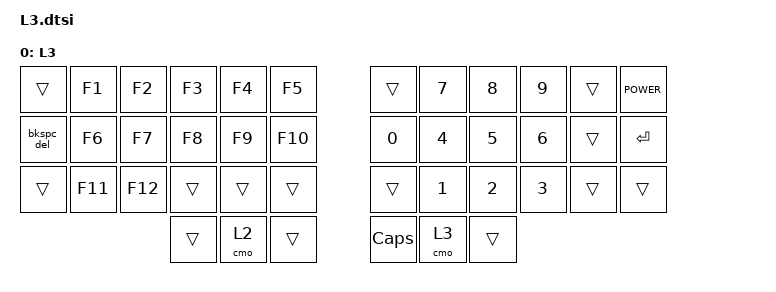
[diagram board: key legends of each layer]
/**
 * Function / System Layer
 */

/ {
  keymap {
    compatible = "zmk,keymap";

    layer_3 {
      label = "L3";
      bindings = <
// ╭───────────────┬───────────────┬───────────────┬───────────────┬───────────────┬───────────────╮   ╭───────────────┬───────────────┬───────────────┬───────────────┬───────────────┬───────────────╮
//  0               1               2               3               4               5                   6               7               8               9               10              11
    &trans          &kp F1          &kp F2          &kp F3          &kp F4          &kp F5              &trans          &kp N7          &kp N8          &kp N9          &trans          &kp C_POWER
// ├───────────────├───────────────┼───────────────┼───────────────┼───────────────┼───────────────┤   ├───────────────├───────────────┼───────────────┼───────────────┼───────────────┼───────────────┤
//  12              13              14              15              16              17                  18              19              20              21              22              23
    &bkspc_del      &kp F6          &kp F7          &kp F8          &kp F9          &kp F10             &kp N0          &kp N4          &kp N5          &kp N6          &trans          &kp ENTER
// ├───────────────├───────────────┼───────────────┼───────────────┼───────────────┼───────────────┤   ├───────────────├───────────────┼───────────────┼───────────────┼───────────────┼───────────────┤
//  24              25              26              27              28              29                  30              31              32              33              34              35
    &trans          &kp F11         &kp F12         &trans          &trans          &trans              &trans          &kp N1          &kp N2          &kp N3          &trans          &trans
// ╰───────────────┴───────────────┴───────────────┼───────────────┼───────────────┼───────────────┤   ├───────────────├───────────────┼───────────────┼───────────────┴───────────────┴───────────────╯
//                                                  36              37              38                  39              40              41
                                                    &trans          &cmo L2         &trans              &kp CAPSLOCK    &cmo L3         &trans
//                                                 ╰───────────────┴───────────────┴───────────────╯   ╰───────────────┴───────────────┴───────────────╯
      >;
    };
  };
};
